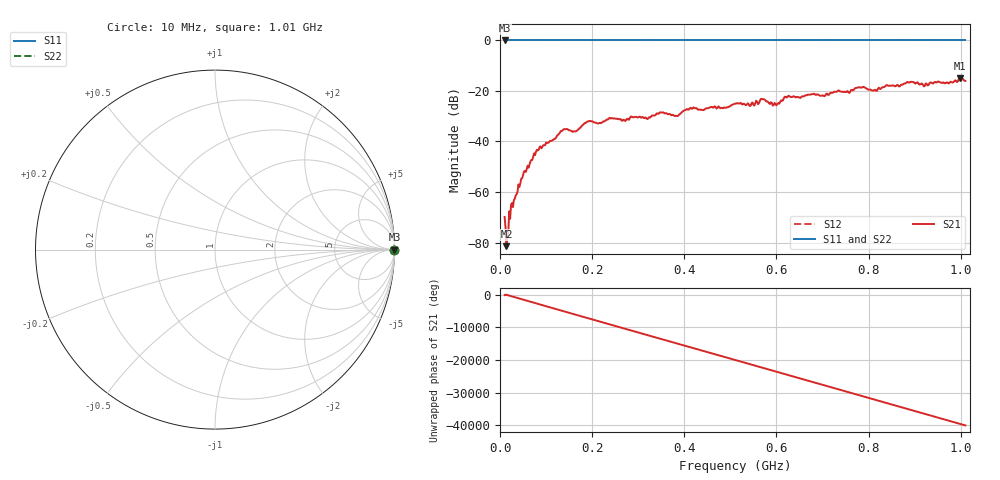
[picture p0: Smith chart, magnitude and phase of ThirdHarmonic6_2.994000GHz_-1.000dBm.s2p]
! 8/17/2025 8:32:35 AM
! C:\ANRITSUVNA\TEMP\TEMP.S2P
! CHANNEL.1
! TR.MEASUREMENT
! RAW.DATA
! RF.CORRECTION.OFF
! AVERAGING.OFF
! IF.BANDWIDTH: 5KHZ
! SWEEPTYPE:  FREQ.SWEEP(Linear)
! Reference Plane Port Info
! PORT:  PORT1  PORT2
! DISTANCE:  0  m  0  m
! TIME:  0  s  0  s
! PHASE.OFFSET:  0  deg.  0  deg.
! LOSS:  0  dB  0  dB
! REF.LOSS:  0  dB  0  dB
! REF.FREQ:  0  Hz  0  Hz
! Power Info
! POWER:  -20  dBm  -20  dBm
! EFF.POWER:  -20  dBm  -20  dBm
! SOURCE.ATTEN:  0  dB  0  dB
! TEST.ATTEN:  0  dB  0  dB
# GHZ S RI R 50.0
! FREQ.GHZ  S11RE  S11IM  S21RE  S21IM  S12RE  S12IM  S22RE  S22IM
!; PortSelection: Port_12
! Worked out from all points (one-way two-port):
!   501 points, 10 MHz to 1.01 GHz, reference 50 ohm
!   highest |S21| = -15.05 dB at 998 MHz (marker M1); lowest = -81.5 dB at 14 MHz (marker M2)
!   lowest |S11| = 0.0 dB at 10 MHz (marker M3)
!   |S11| at or under -10 dB: nowhere
!   |S22| runs from 0.0 to 0.0 dB; largest |S21 - S12| = 1.2
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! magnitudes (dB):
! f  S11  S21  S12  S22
! 10 MHz  0.0  -69.9  0.0  0.0
! 14 MHz  0.0  -81.5  0.0  0.0
! 18 MHz  0.0  -76.2  0.0  0.0
! 24 MHz  0.0  -65.0  0.0  0.0
! 44 MHz  0.0  -56.7  0.0  0.0
! 76 MHz  0.0  -45.4  0.0  0.0
! 136 MHz  0.0  -35.6  0.0  0.0
! 162 MHz  0.0  -36.0  0.0  0.0
! 178 MHz  0.0  -33.7  0.0  0.0
! 192 MHz  0.0  -32.0  0.0  0.0
! 344 MHz  0.0  -29.1  0.0  0.0
! 382 MHz  0.0  -29.8  0.0  0.0
! 416 MHz  0.0  -27.1  0.0  0.0
! 510 MHz  0.0  -25.0  0.0  0.0
! 548 MHz  0.0  -24.6  0.0  0.0
! 570 MHz  0.0  -23.2  0.0  0.0
! 596 MHz  0.0  -24.7  0.0  0.0
! 622 MHz  0.0  -22.6  0.0  0.0
! 678 MHz  0.0  -21.3  0.0  0.0
! 844 MHz  0.0  -18.0  0.0  0.0
! 998 MHz  0.0  -15.0  0.0  0.0
! 1.01 GHz  0.0  -16.0  0.0  0.0
